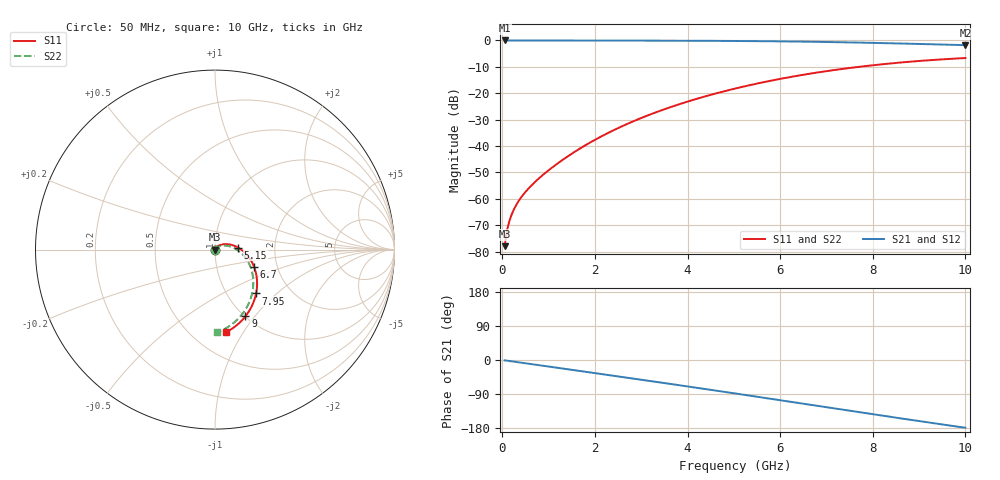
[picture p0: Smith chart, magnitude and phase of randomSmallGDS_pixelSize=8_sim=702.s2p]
! freq	dB(S11)	phase(S11)	dB(S12)	phase(S12)
!  dB(S21)	phase(S21)	dB(S22)	phase(S22)
!S-par simulation data
#  GHz  S  DB  R 50
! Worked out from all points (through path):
!   200 points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, 50 MHz to 10 GHz, reference 50 ohm
!   highest |S21| = 0.00 dB at 50 MHz (marker M1); lowest = -1.8 dB at 10 GHz (marker M2)
!   group delay of S21, straight-line fit = 50 ps
!   lowest |S11| = -78.0 dB at 50 MHz (marker M3), VSWR 1.00, Z = 50 + j0.0122 ohm
!   |S11| at or under -10 dB: start of sweep to 7.702 GHz
!   |S22| runs from -78.0 to -6.7 dB; largest |S21 - S12| = 0
!   S11 on the Smith chart (normalised r, x): 50 MHz: 1.00, +0.00; 5.15 GHz: 1.30, +0.03; 6.7 GHz: 1.52, -0.31; 7.95 GHz: 1.36, -0.75; 9 GHz: 1.01, -0.90; 10 GHz: 0.72, -0.84
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0.05  -77.98 74.8  -0.00 -0.9  -0.00 -0.9  -78.00 74.1
0.1  -72.15 81.8  -0.00 -1.7  -0.00 -1.7  -72.17 80.3
0.15  -68.62 84.0  -0.00 -2.6  -0.00 -2.6  -68.65 81.8
0.2  -66.08 85.0  -0.00 -3.5  -0.00 -3.5  -66.11 82.1
0.3  -62.39 85.6  -0.00 -5.2  -0.00 -5.2  -62.43 81.3
0.45  -58.49 85.3  -0.01 -7.8  -0.01 -7.8  -58.55 79.2
0.65  -54.59 84.1  -0.01 -11.3  -0.01 -11.3  -54.68 76.0
0.95  -49.91 81.2  -0.02 -16.4  -0.02 -16.4  -50.04 71.2
1.35  -44.69 75.7  -0.03 -23.3  -0.03 -23.3  -44.84 64.6
1.75  -40.19 68.9  -0.03 -30.2  -0.03 -30.2  -40.35 57.9
2.55  -32.81 53.9  -0.05 -44.1  -0.05 -44.1  -32.93 43.9
3.4  -26.70 37.6  -0.08 -59.1  -0.08 -59.1  -26.79 28.9
4.25  -21.85 21.6  -0.12 -74.2  -0.12 -74.2  -21.93 13.9
5.05  -18.14 6.7  -0.20 -88.7  -0.20 -88.7  -18.20 -0.4
5.15  -17.72 4.8  -0.21 -90.5  -0.21 -90.5  -17.78 -2.1
5.9  -14.90 -9.2  -0.32 -104.2  -0.32 -104.2  -14.96 -15.7
6.7  -12.43 -24.0  -0.50 -119.0  -0.50 -119.0  -12.49 -30.2
7.35  -10.78 -36.0  -0.68 -131.1  -0.68 -131.1  -10.83 -42.0
7.95  -9.50 -46.9  -0.89 -142.1  -0.89 -142.1  -9.56 -52.8
8.35  -8.77 -54.0  -1.05 -149.4  -1.05 -149.4  -8.83 -59.9
9  -7.78 -65.4  -1.32 -161.2  -1.32 -161.2  -7.84 -71.3
10  -6.67 -82.3  -1.78 -178.8  -1.78 -178.8  -6.73 -88.3
